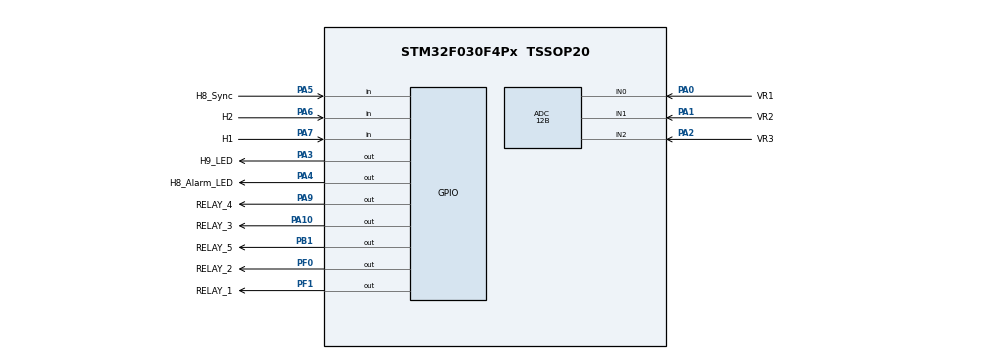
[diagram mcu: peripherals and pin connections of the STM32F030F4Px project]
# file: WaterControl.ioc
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ADC.ClockPrescaler=ADC_CLOCK_ASYNC_DIV1
ADC.ContinuousConvMode=ENABLE
ADC.DMAContinuousRequests=ENABLE
ADC.EnableAnalogWatchDog=false
ADC.ExternalTrigConv=ADC_SOFTWARE_START
ADC.Resolution=ADC_RESOLUTION_12B
ADC.SamplingTime=ADC_SAMPLETIME_13CYCLES_5
Dma.ADC.0.Direction=DMA_PERIPH_TO_MEMORY
Dma.ADC.0.Instance=DMA1_Channel1
Dma.ADC.0.MemDataAlignment=DMA_MDATAALIGN_WORD
Dma.ADC.0.MemInc=DMA_MINC_ENABLE
Dma.ADC.0.Mode=DMA_CIRCULAR
Dma.ADC.0.PeriphDataAlignment=DMA_PDATAALIGN_WORD
Dma.ADC.0.PeriphInc=DMA_PINC_DISABLE
Dma.ADC.0.Priority=DMA_PRIORITY_HIGH
Dma.Request0=ADC
Mcu.Family=STM32F0
Mcu.Name=STM32F030F4Px
Mcu.Package=TSSOP20
NVIC.ADC1_IRQn=true\:0\:0\:false\:false\:true\:true\:true
NVIC.DMA1_Channel1_IRQn=true\:0\:0\:false\:false\:true\:false\:true
NVIC.WWDG_IRQn=true\:0\:0\:false\:false\:true\:true\:true
PA0.GPIO_Label=VR1
PA0.Mode=IN0
PA0.Signal=ADC_IN0
PA1.GPIO_Label=VR2
PA1.Mode=IN1
PA1.Signal=ADC_IN1
PA10.GPIO_Label=RELAY_3
PA10.Signal=GPIO_Output
PA13.Mode=Serial_Wire
PA13.Signal=SYS_SWDIO
PA14.Mode=Serial_Wire
PA14.Signal=SYS_SWCLK
PA2.GPIO_Label=VR3
PA2.Mode=IN2
PA2.Signal=ADC_IN2
PA3.GPIO_Label=H9_LED
PA3.Signal=GPIO_Output
PA4.GPIO_Label=H8_Alarm_LED
PA4.Signal=GPIO_Output
PA5.GPIO_Label=H8_Sync
PA5.GPIO_PuPd=GPIO_PULLUP
PA5.Signal=GPIO_Input
PA6.GPIO_Label=H2
PA6.GPIO_PuPd=GPIO_PULLUP
PA6.Signal=GPIO_Input
PA7.GPIO_Label=H1
PA7.GPIO_PuPd=GPIO_PULLUP
PA7.Signal=GPIO_Input
PA9.GPIO_Label=RELAY_4
PA9.Signal=GPIO_Output
PB1.GPIO_Label=RELAY_5
PB1.GPIO_PuPd=GPIO_PULLDOWN
PB1.Signal=GPIO_Output
PF0-OSC_IN.GPIO_Label=RELAY_2
PF0-OSC_IN.GPIO_PuPd=GPIO_PULLDOWN
PF0-OSC_IN.Signal=GPIO_Output
PF1-OSC_OUT.GPIO_Label=RELAY_1
PF1-OSC_OUT.GPIO_PuPd=GPIO_PULLDOWN
PF1-OSC_OUT.Signal=GPIO_Output
ProjectManager.HeapSize=0x200
ProjectManager.StackSize=0x400
ProjectManager.TargetToolchain=STM32CubeIDE
RCC.APB1Freq_Value=8000000
RCC.APB1TimFreq_Value=8000000
VP_WWDG_VS_WWDG.Mode=WWDG_Activate
WWDG.Counter=127
WWDG.EWIMode=WWDG_EWI_ENABLE
WWDG.Prescaler=WWDG_PRESCALER_8
WWDG.Window=90
board=custom

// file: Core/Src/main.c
/* USER CODE BEGIN Header */
/**
  ******************************************************************************
  * @file           : main.c
  * @brief          : Main program body
  ******************************************************************************
  * @attention
  *
  * <h2><center>&copy; Copyright (c) 2021 STMicroelectronics.
  * All rights reserved.</center></h2>
  *
  * This software component is licensed by ST under BSD 3-Clause license,
  * the "License"; You may not use this file except in compliance with the
  * License. You may obtain a copy of the License at:
  *                        opensource.org/licenses/BSD-3-Clause
  *
  ******************************************************************************
  */
/* USER CODE END Header */
#include "main.h"
#include "adc.h"
#include "dma.h"
#include "wwdg.h"
#include "gpio.h"

/* USER CODE BEGIN PV */
uint32_t ADC_Value[150];
uint8_t i;
uint32_t ad1,ad2,ad3;
int delayOnTimer=0;
int setDelayOnTimer=0;

int autoOntimer=10;
int autoOfftimer=10;

int setAutoOntimer=10;
int setAutoOfftimer=10;
int auto_run=1;
int state=0;
int lastH1=0;
int lastH2=0;
int lastH8=0;
#define delayOnTimerMax 30
#define HIGH 1
#define LOW 0
#define NO 1
#define OFF 0
#define min 60
/* USER CODE END PV */

void SystemClock_Config(void);

int main(void)
{

  /* MCU Configuration--------------------------------------------------------*/

  /* Reset of all peripherals, Initializes the Flash interface and the Systick. */
  HAL_Init();

  /* Configure the system clock */
  SystemClock_Config();

  /* Initialize all configured peripherals */
  MX_GPIO_Init();
  MX_DMA_Init();
  MX_ADC_Init();
  //MX_WWDG_Init();
  /* USER CODE BEGIN 2 */

  HAL_ADC_Start_DMA(&hadc, (uint32_t*)&ADC_Value, 60);

  /* USER CODE END 2 */

  /* Infinite loop */
  while (1)
  {

    /* USER CODE BEGIN 3 */
      for(i = 0,ad1 =0,ad2=0,ad3=0 ;i < 60;)
      {
          ad1 += ADC_Value[i++];
          ad2 += ADC_Value[i++];
          ad3 += ADC_Value[i++];
      }
      //ADC MAX=4096 409600m=> 409s
      ad1 /= 20;//1-10m
      ad2 /= 20;//3-720m (0.05hr-12hr)
      ad3 /= 20;//0-3m
      setAutoOntimer=ad1*1.66;		//10/6=1.66
	  setAutoOfftimer=ad2*120; 		//720m/6m=120
      setDelayOnTimer=ad3/2; 		//409s=6m 409s/2=3m

      if(auto_run&&lastH1!=1&&lastH2!=1){
    	  switch(state){
    	  case 0:
    		  HAL_GPIO_WritePin(RELAY_1_GPIO_Port, RELAY_1_Pin, HIGH);
    		  HAL_GPIO_WritePin(RELAY_2_GPIO_Port, RELAY_2_Pin, HIGH);
    		  HAL_GPIO_WritePin(RELAY_3_GPIO_Port, RELAY_3_Pin, HIGH);
    		  if(autoOfftimer>0){
    			  autoOfftimer--;
    		  }else{
    			  autoOfftimer=setAutoOfftimer;
    			  state=1;
    		  }

    		  break;
    	  case 1:
    		  HAL_GPIO_WritePin(RELAY_1_GPIO_Port, RELAY_1_Pin, LOW);
    		  HAL_GPIO_WritePin(RELAY_2_GPIO_Port, RELAY_2_Pin, LOW);
    		  HAL_GPIO_WritePin(RELAY_3_GPIO_Port, RELAY_3_Pin, LOW);
    		  if(autoOntimer>0){
    			  autoOntimer--;
    		  }else{
    			  autoOntimer=setAutoOntimer;
    			  state=0;
    		  }
    		  break;
    	  }
      }
     if(HAL_GPIO_ReadPin(H1_GPIO_Port, H1_Pin)==0){//H1觸發
    	 HAL_GPIO_WritePin(RELAY_3_GPIO_Port, RELAY_3_Pin, HIGH);

    	 HAL_GPIO_WritePin(H9_LED_GPIO_Port, H9_LED_Pin, LOW);
    	 lastH1=1;
    	 if(delayOnTimer<setDelayOnTimer){
    		 delayOnTimer++;
    	 }
     }else{
    	 delayOnTimer=0;
    	 if(lastH1==1){
    	 HAL_GPIO_WritePin(RELAY_3_GPIO_Port, RELAY_3_Pin, LOW);

    	 HAL_GPIO_WritePin(H9_LED_GPIO_Port, H9_LED_Pin, LOW);

    	 lastH1=0;
    	 }
     }

     if(delayOnTimer>=delayOnTimerMax){
    	 HAL_GPIO_WritePin(RELAY_4_GPIO_Port, RELAY_4_Pin, HIGH);
     }else{
    	 HAL_GPIO_WritePin(RELAY_4_GPIO_Port, RELAY_4_Pin, LOW);
     }

     if(HAL_GPIO_ReadPin(H2_GPIO_Port, H2_Pin)==0){//H2觸發
    	 HAL_GPIO_WritePin(RELAY_1_GPIO_Port, RELAY_1_Pin, HIGH);
    	 HAL_GPIO_WritePin(RELAY_2_GPIO_Port, RELAY_2_Pin, HIGH);
    	 HAL_GPIO_WritePin(RELAY_5_GPIO_Port, RELAY_5_Pin, HIGH);
    	 lastH2=1;
     }else{
    	 if(lastH2==1){
    	 HAL_GPIO_WritePin(RELAY_1_GPIO_Port, RELAY_1_Pin, LOW);
    	 HAL_GPIO_WritePin(RELAY_2_GPIO_Port, RELAY_2_Pin, LOW);
    	 HAL_GPIO_WritePin(RELAY_5_GPIO_Port, RELAY_5_Pin, LOW);
    	 lastH2=0;
    	 }
     }
     if(HAL_GPIO_ReadPin(H8_Sync_GPIO_Port, H8_Sync_Pin)==0){//H8 Sync 觸發
    	 HAL_GPIO_WritePin(H8_Alarm_LED_GPIO_Port,H8_Alarm_LED_Pin, LOW);

    	 HAL_GPIO_WritePin(RELAY_2_GPIO_Port, RELAY_2_Pin, HIGH);
    	 HAL_GPIO_WritePin(RELAY_3_GPIO_Port, RELAY_3_Pin, HIGH);
    	 HAL_GPIO_WritePin(RELAY_4_GPIO_Port, RELAY_4_Pin, HIGH);
    	 HAL_GPIO_WritePin(RELAY_5_GPIO_Port, RELAY_5_Pin, HIGH);

    	 lastH8=1;
     }else{
    	 if(lastH8==1){
    		 HAL_GPIO_WritePin(H8_Alarm_LED_GPIO_Port,H8_Alarm_LED_Pin, HIGH);

        	 HAL_GPIO_WritePin(RELAY_2_GPIO_Port, RELAY_2_Pin, LOW);
        	 HAL_GPIO_WritePin(RELAY_3_GPIO_Port, RELAY_3_Pin, LOW);
        	 HAL_GPIO_WritePin(RELAY_4_GPIO_Port, RELAY_4_Pin, LOW);
        	 HAL_GPIO_WritePin(RELAY_5_GPIO_Port, RELAY_5_Pin, LOW);
    	 lastH8=0;
    	 }
     }
     //HAL_GPIO_TogglePin(GPIOA, GPIO_PIN_4);
	 HAL_Delay(100);

  }
  /* USER CODE END 3 */
}

void SystemClock_Config(void)
{
  RCC_OscInitTypeDef RCC_OscInitStruct = {0};
  RCC_ClkInitTypeDef RCC_ClkInitStruct = {0};

  /** Initializes the RCC Oscillators according to the specified parameters
  * in the RCC_OscInitTypeDef structure.
  */
  RCC_OscInitStruct.OscillatorType = RCC_OSCILLATORTYPE_HSI|RCC_OSCILLATORTYPE_HSI14;
  RCC_OscInitStruct.HSIState = RCC_HSI_ON;
  RCC_OscInitStruct.HSI14State = RCC_HSI14_ON;
  RCC_OscInitStruct.HSICalibrationValue = RCC_HSICALIBRATION_DEFAULT;
  RCC_OscInitStruct.HSI14CalibrationValue = 16;
  RCC_OscInitStruct.PLL.PLLState = RCC_PLL_NONE;
  if (HAL_RCC_OscConfig(&RCC_OscInitStruct) != HAL_OK)
  {
    Error_Handler();
  }
  /** Initializes the CPU, AHB and APB buses clocks
  */
  RCC_ClkInitStruct.ClockType = RCC_CLOCKTYPE_HCLK|RCC_CLOCKTYPE_SYSCLK
                              |RCC_CLOCKTYPE_PCLK1;
  RCC_ClkInitStruct.SYSCLKSource = RCC_SYSCLKSOURCE_HSI;
  RCC_ClkInitStruct.AHBCLKDivider = RCC_SYSCLK_DIV1;
  RCC_ClkInitStruct.APB1CLKDivider = RCC_HCLK_DIV1;

  if (HAL_RCC_ClockConfig(&RCC_ClkInitStruct, FLASH_LATENCY_0) != HAL_OK)
  {
    Error_Handler();
  }
}

void Error_Handler(void)
{
  __disable_irq();
  while (1)
  {
  }
}

/************************ (C) COPYRIGHT STMicroelectronics *****END OF FILE****/
